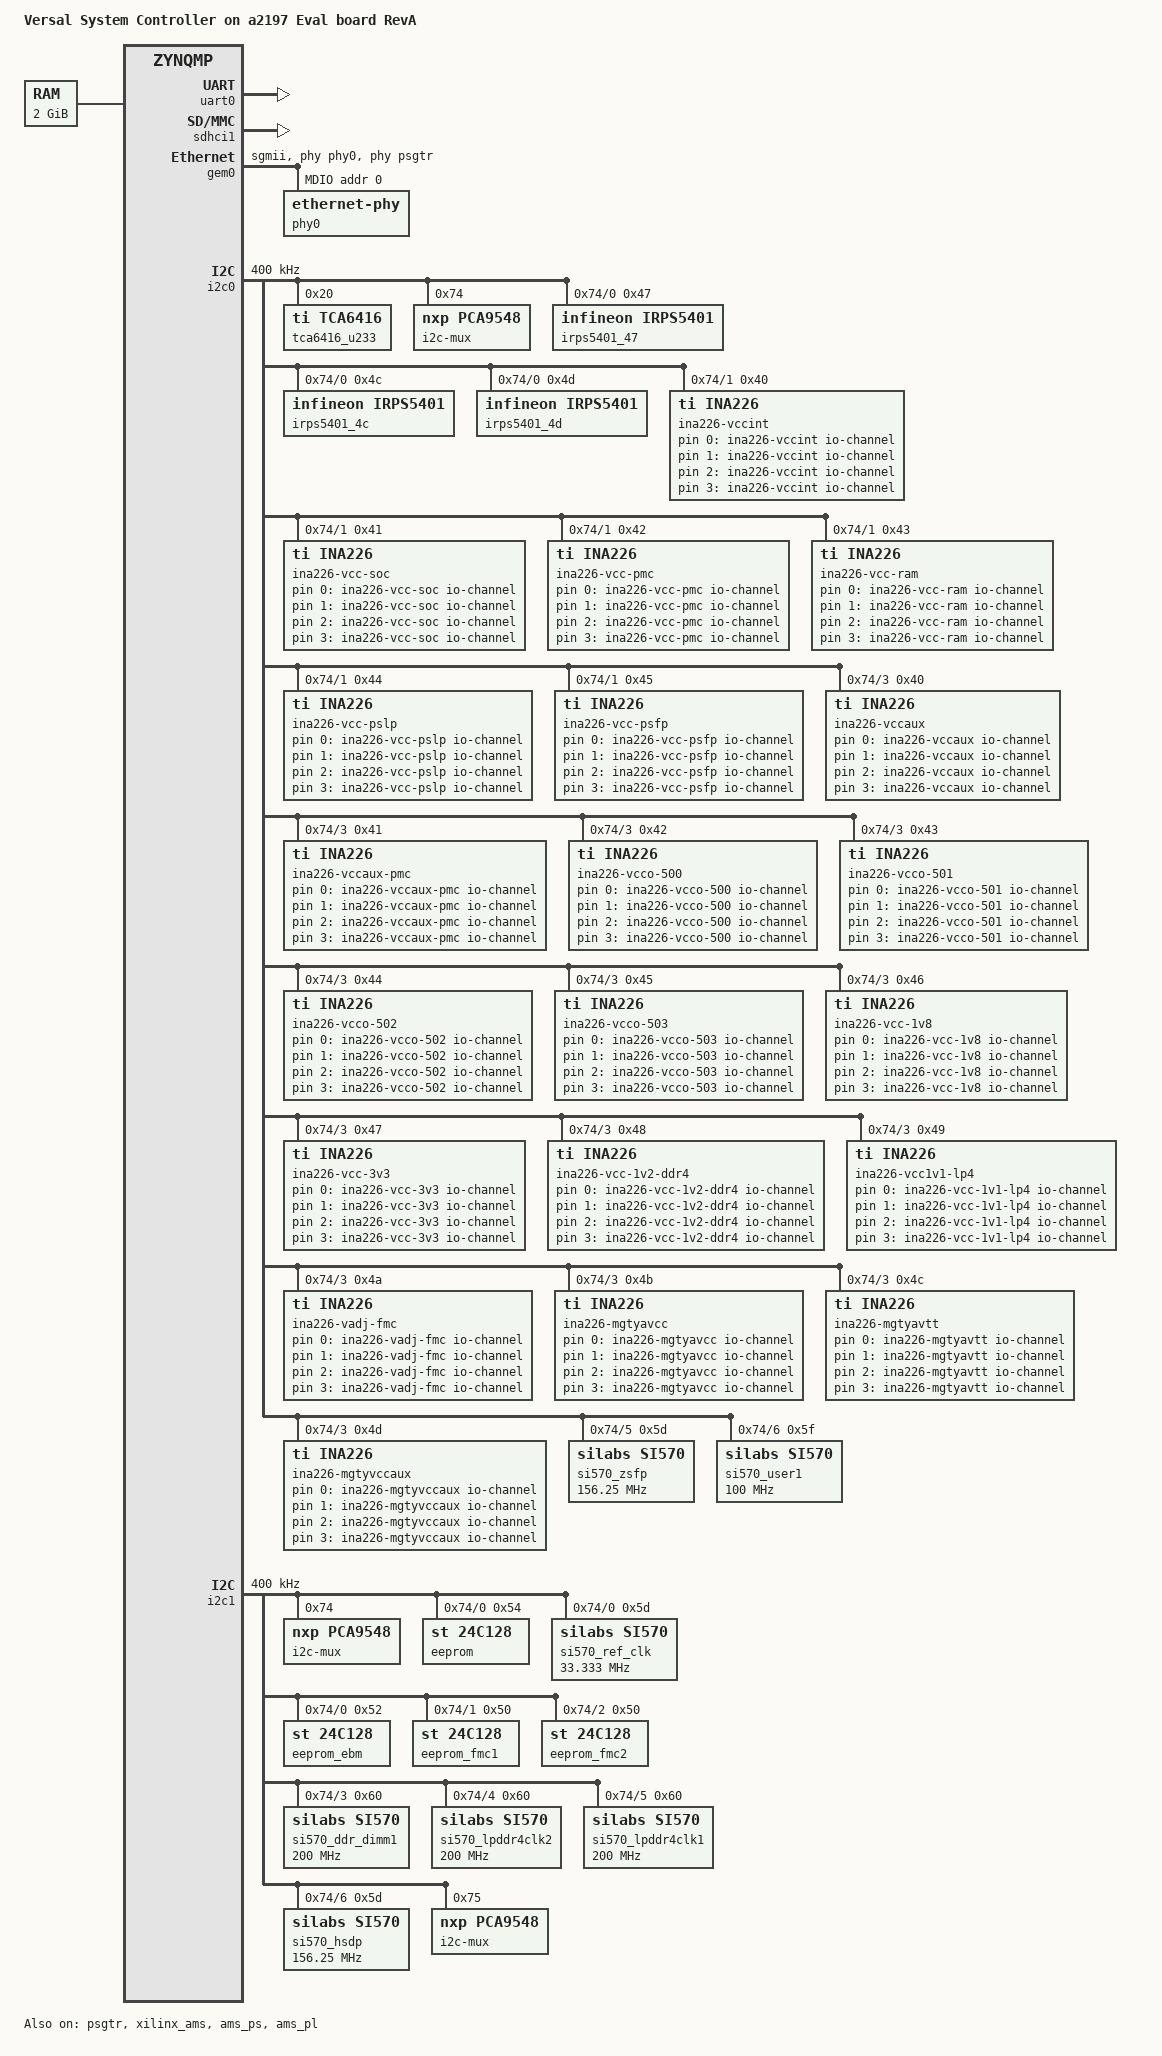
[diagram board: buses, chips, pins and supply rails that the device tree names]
// SPDX-License-Identifier: GPL-2.0
/*
 * dts file for Xilinx Versal a2197 RevA System Controller
 *
 * (C) Copyright 2019 - 2022, Xilinx, Inc.
 * (C) Copyright 2022 - 2023, Advanced Micro Devices, Inc.
 *
 * Michal Simek <michal.simek@amd.com>
 */
/dts-v1/;

#include "zynqmp.dtsi"
#include "zynqmp-clk-ccf.dtsi"
#include <dt-bindings/gpio/gpio.h>
#include <dt-bindings/phy/phy.h>

/ {
	model = "Versal System Controller on a2197 Eval board RevA"; /* VCK190/VMK180 */
	compatible = "xlnx,zynqmp-e-a2197-00-revA", "xlnx,zynqmp-a2197-revA",
		     "xlnx,zynqmp-a2197", "xlnx,zynqmp";

	aliases {
		ethernet0 = &gem0;
		i2c0 = &i2c0;
		i2c1 = &i2c1;
		mmc0 = &sdhci1;
		nvmem0 = &eeprom;
		nvmem1 = &eeprom_ebm;
		nvmem2 = &eeprom_fmc1;
		nvmem3 = &eeprom_fmc2;
		rtc0 = &rtc;
		serial0 = &uart0;
		serial1 = &dcc;
	};

	chosen {
		bootargs = "earlycon";
		stdout-path = "serial0:115200n8";
	};

	memory@0 {
		device_type = "memory";
		reg = <0x0 0x0 0x0 0x80000000>;
	};

	si5332_1: si5332-1 { /* u142 - GEM0 */
		compatible = "fixed-clock";
		#clock-cells = <0>;
		clock-frequency = <125000000>;
	};

	ina226-vccint {
		compatible = "iio-hwmon";
		io-channels = <&vccint 0>, <&vccint 1>, <&vccint 2>, <&vccint 3>;
	};
	ina226-vcc-soc {
		compatible = "iio-hwmon";
		io-channels = <&vcc_soc 0>, <&vcc_soc 1>, <&vcc_soc 2>, <&vcc_soc 3>;
	};
	ina226-vcc-pmc {
		compatible = "iio-hwmon";
		io-channels = <&vcc_pmc 0>, <&vcc_pmc 1>, <&vcc_pmc 2>, <&vcc_pmc 3>;
	};
	ina226-vcc-ram {
		compatible = "iio-hwmon";
		io-channels = <&vcc_ram 0>, <&vcc_ram 1>, <&vcc_ram 2>, <&vcc_ram 3>;
	};
	ina226-vcc-pslp {
		compatible = "iio-hwmon";
		io-channels = <&vcc_pslp 0>, <&vcc_pslp 1>, <&vcc_pslp 2>, <&vcc_pslp 3>;
	};
	ina226-vcc-psfp {
		compatible = "iio-hwmon";
		io-channels = <&vcc_psfp 0>, <&vcc_psfp 1>, <&vcc_psfp 2>, <&vcc_psfp 3>;
	};
	ina226-vccaux {
		compatible = "iio-hwmon";
		io-channels = <&vccaux 0>, <&vccaux 1>, <&vccaux 2>, <&vccaux 3>;
	};
	ina226-vccaux-pmc {
		compatible = "iio-hwmon";
		io-channels = <&vccaux_pmc 0>, <&vccaux_pmc 1>, <&vccaux_pmc 2>, <&vccaux_pmc 3>;
	};
	ina226-vcco-500 {
		compatible = "iio-hwmon";
		io-channels = <&vcco_500 0>, <&vcco_500 1>, <&vcco_500 2>, <&vcco_500 3>;
	};
	ina226-vcco-501 {
		compatible = "iio-hwmon";
		io-channels = <&vcco_501 0>, <&vcco_501 1>, <&vcco_501 2>, <&vcco_501 3>;
	};
	ina226-vcco-502 {
		compatible = "iio-hwmon";
		io-channels = <&vcco_502 0>, <&vcco_502 1>, <&vcco_502 2>, <&vcco_502 3>;
	};
	ina226-vcco-503 {
		compatible = "iio-hwmon";
		io-channels = <&vcco_503 0>, <&vcco_503 1>, <&vcco_503 2>, <&vcco_503 3>;
	};
	ina226-vcc-1v8 {
		compatible = "iio-hwmon";
		io-channels = <&vcc_1v8 0>, <&vcc_1v8 1>, <&vcc_1v8 2>, <&vcc_1v8 3>;
	};
	ina226-vcc-3v3 {
		compatible = "iio-hwmon";
		io-channels = <&vcc_3v3 0>, <&vcc_3v3 1>, <&vcc_3v3 2>, <&vcc_3v3 3>;
	};
	ina226-vcc-1v2-ddr4 {
		compatible = "iio-hwmon";
		io-channels = <&vcc_1v2_ddr4 0>, <&vcc_1v2_ddr4 1>, <&vcc_1v2_ddr4 2>, <&vcc_1v2_ddr4 3>;
	};
	ina226-vcc-1v1-lp4 {
		compatible = "iio-hwmon";
		io-channels = <&vcc1v1_lp4 0>, <&vcc1v1_lp4 1>, <&vcc1v1_lp4 2>, <&vcc1v1_lp4 3>;
	};
	ina226-vadj-fmc {
		compatible = "iio-hwmon";
		io-channels = <&vadj_fmc 0>, <&vadj_fmc 1>, <&vadj_fmc 2>, <&vadj_fmc 3>;
	};
	ina226-mgtyavcc {
		compatible = "iio-hwmon";
		io-channels = <&mgtyavcc 0>, <&mgtyavcc 1>, <&mgtyavcc 2>, <&mgtyavcc 3>;
	};
	ina226-mgtyavtt {
		compatible = "iio-hwmon";
		io-channels = <&mgtyavtt 0>, <&mgtyavtt 1>, <&mgtyavtt 2>, <&mgtyavtt 3>;
	};
	ina226-mgtyvccaux {
		compatible = "iio-hwmon";
		io-channels = <&mgtyvccaux 0>, <&mgtyvccaux 1>, <&mgtyvccaux 2>, <&mgtyvccaux 3>;
	};
};

&uart0 { /* uart0 MIO38-39 */
	status = "okay";
};

&sdhci1 { /* sd1 MIO45-51 cd in place */
	status = "okay";
	no-1-8-v;
	disable-wp;
	xlnx,mio-bank = <1>;
};

/* GEM SGMII */
&psgtr {
	status = "okay";
	/* gem0 */
	clocks = <&si5332_1>;
	clock-names = "ref0";
};

&gem0 {
	status = "okay";
	phys = <&psgtr 0 PHY_TYPE_SGMII 0 0>;
	phy-handle = <&phy0>;
	phy-mode = "sgmii";
	is-internal-pcspma;
	mdio: mdio {
		#address-cells = <1>;
		#size-cells = <0>;
		phy0: ethernet-phy@0 { /* u131 M88E1512 */
			reg = <0>;
		};
	};
};

&gpio {
	status = "okay";
	gpio-line-names = "", "", "", "", "", /* 0 - 4 */
		  "", "", "DC_SYS_CTRL0", "DC_SYS_CTRL1", "DC_SYS_CTRL2", /* 5 - 9 */
		  "DC_SYS_CTRL3", "ZU4_TRIGGER", "SYSCTLR_PB", "", "", /* 10 - 14 */
		  "", "", "", "", "", /* 15 - 19 */
		  "", "", "", "", "", /* 20 - 24 */
		  "", "", "", "", "", /* 25 - 29 */
		  "", "", "", "", "LP_I2C0_PMC_SCL", /* 30 - 34 */
		  "LP_I2C0_PMC_SDA", "LP_I2C1_SCL", "LP_I2C1_SDA", "UART0_RXD_IN", "UART0_TXD_OUT", /* 35 - 39 */
		  "", "", "ETH_RESET_B", "", "", /* 40 - 44 */
		  "SD1_CD_B", "SD1_DATA0", "SD1_DATA1", "SD1_DATA2", "SD1_DATA3", /* 45 - 49 */
		  "SD1_CMD", "SD1_CLK", "", "", "", /* 50 - 54 */
		  "", "", "", "", "", /* 55 - 59 */
		  "", "", "", "", "", /* 60 - 64 */
		  "", "", "", "", "", /* 65 - 69 */
		  "", "", "", "", "", /* 70 - 74 */
		  "", "ETH_MDC", "ETH_MDIO", /* 75 - 77, MIO end and EMIO start */
		  "SYSCTLR_VERSAL_MODE0", "SYSCTLR_VERSAL_MODE1", /* 78 - 79 */
		  "SYSCTLR_VERSAL_MODE2", "SYSCTLR_VERSAL_MODE3", "SYSCTLR_POR_B_LS", "DC_PRSNT", "", /* 80 - 84 */
		  "SYSCTLR_JTAG_S0", "SYSCTLR_JTAG_S1", "SYSCTLR_IIC_MUX0_RESET_B", "SYSCTLR_IIC_MUX1_RESET_B", "", /* 85 - 89 */
		  "SYSCTLR_GPIO0", "SYSCTLR_GPIO1", "SYSCTLR_GPIO2", "SYSCTLR_GPIO3", "SYSCTLR_GPIO4", /* 90 - 94 */
		  "SYSCTLR_GPIO5", "", "", "", "", /* 95 - 99 */
		  "", "", "", "", "", /* 100 - 104 */
		  "", "", "", "", "", /* 105 - 109 */
		  "", "", "", "", "", /* 110 - 114 */
		  "", "", "", "", "", /* 115 - 119 */
		  "", "", "", "", "", /* 120 - 124 */
		  "", "", "", "", "", /* 125 - 129 */
		  "PMBUS1_INA226_ALERT", "PMBUS2_INA226_ALERT", "", "", "", /* 130 - 134 */
		  "", "", "", "", "", /* 135 - 139 */
		  "PMBUS_ALERT", "", "SYSCTLR_ETH_RESET_B", "SYSCTLR_VCC0V85_TG", "MAX6643_OT_B", /* 140 - 144 */
		  "MAX6643_FANFINAL_B", "MAX6643_FULLSPD", "", "", "", /* 145 - 149 */
		  "", "", "", "", "", /* 150 - 154 */
		  "", "", "", "", "", /* 155 - 159 */
		  "", "", "", "", "", /* 160 - 164 */
		  "", "", "", "", "", /* 165 - 169 */
		  "", "", "", ""; /* 170 - 173 */
};

&i2c0 { /* MIO 34-35 - can't stay here */
	status = "okay";
	clock-frequency = <400000>;

	tca6416_u233: gpio@20 { /* u233 */
		compatible = "ti,tca6416";
		reg = <0x20>;
		gpio-controller; /* interrupt not connected */
		#gpio-cells = <2>;
		gpio-line-names = "MAX6643_OT_B", "MAX6643_FANFAIL_B", "", "", /* 0 - 3 */
				"PMBUS2_INA226_ALERT", "", "", "MAX6643_FULLSPD", /* 4 - 7 */
				"FMCP1_FMC_PRSNT_M2C_B", "FMCP2_FMC_PRSNT_M2C_B", "FMCP1_FMCP_PRSNT_M2C_B", "FMCP2_FMCP_PRSNT_M2C_B", /* 10 - 13 */
				"VCCINT_VRHOT_B", "8A34001_EXP_RST_B", "PMBUS_ALERT", "PMBUS1_INA226_ALERT"; /* 14 - 17 */
	};

	i2c-mux@74 { /* u33 */
		compatible = "nxp,pca9548";
		#address-cells = <1>;
		#size-cells = <0>;
		reg = <0x74>;
		/* reset-gpios = <&gpio SYSCTLR_IIC_MUX0_RESET_B GPIO_ACTIVE_HIGH>; */
		i2c@0 { /* PMBUS */
			#address-cells = <1>;
			#size-cells = <0>;
			reg = <0>;
			/* u152 IR35215 0x16/0x46 vcc_soc */
			/* u179 ir38164 0x19/0x49 vcco_500 */
			/* u181 ir38164 0x1a/0x4a vcco_501 */
			/* u183 ir38164 0x1b/0x4b vcco_502 */
			/* u185 ir38164 0x1e/0x4e vadj_fmc */
			/* u187 ir38164 0x1F/0x4f mgtyavcc */
			/* u189 ir38164 0x20/0x50 mgtyavtt */
			/* u194 ir38164 0x13/0x43 vdd1_1v8_lp4 */
			/* u195 ir38164 0x14/0x44 vdd2_1v8_lp4 */

			irps5401_47: irps5401@47 { /* IRPS5401 - u160 */
				compatible = "infineon,irps5401";
				reg = <0x47>; /* pmbus / i2c 0x17 */
			};
			irps5401_4c: irps5401@4c { /* IRPS5401 - u167 */
				compatible = "infineon,irps5401";
				reg = <0x4c>; /* pmbus / i2c 0x1c */
			};
			irps5401_4d: irps5401@4d { /* IRPS5401 - u175 */
				compatible = "infineon,irps5401";
				reg = <0x4d>; /* pmbus / i2c 0x1d */
			};
		};
		i2c@1 { /* PMBUS1_INA226 */
			#address-cells = <1>;
			#size-cells = <0>;
			reg = <1>;
			/* FIXME check alerts coming to SC */
			vccint: ina226@40 { /* u65 */
				compatible = "ti,ina226";
				#io-channel-cells = <1>;
				label = "ina226-vccint";
				reg = <0x40>;
				shunt-resistor = <500>; /* R440 */
				/* 0.80V @ 32A 1 of 6 Phases*/
			};
			vcc_soc: ina226@41 { /* u161 */
				compatible = "ti,ina226";
				#io-channel-cells = <1>;
				label = "ina226-vcc-soc";
				reg = <0x41>;
				shunt-resistor = <500>; /* R1702 */
				/* 0.80V @ 18A */
			};
			vcc_pmc: ina226@42 { /* u163 */
				compatible = "ti,ina226";
				#io-channel-cells = <1>;
				label = "ina226-vcc-pmc";
				reg = <0x42>;
				shunt-resistor = <5000>; /* R1214 */
				/* 0.78V @ 500mA */
			};
			vcc_ram: ina226@43 { /* u162 */
				compatible = "ti,ina226";
				#io-channel-cells = <1>;
				label = "ina226-vcc-ram";
				reg = <0x43>;
				shunt-resistor = <5000>; /* r1221 */
				/* 0.78V @ 4A */
			};
			vcc_pslp: ina226@44 { /* u165 */
				compatible = "ti,ina226";
				#io-channel-cells = <1>;
				label = "ina226-vcc-pslp";
				reg = <0x44>;
				shunt-resistor = <5000>; /* R1216 */
				/* 0.78V @ 1A */
			};
			vcc_psfp: ina226@45 { /* u164 */
				compatible = "ti,ina226";
				#io-channel-cells = <1>;
				label = "ina226-vcc-psfp";
				reg = <0x45>;
				shunt-resistor = <5000>; /* R1219 */
				/* 0.78V @ 2A */
			};
		};
		i2c@2 { /* PCIE_CLK */
			#address-cells = <1>;
			#size-cells = <0>;
			reg = <2>;
			/* u39 8T49N240 */
		};
		i2c@3 { /* PMBUS2_INA226 */
			#address-cells = <1>;
			#size-cells = <0>;
			reg = <3>;
			/* FIXME check alerts coming to SC */
			vccaux: ina226@40 { /* u166 */
				compatible = "ti,ina226";
				#io-channel-cells = <1>;
				label = "ina226-vccaux";
				reg = <0x40>;
				shunt-resistor = <5000>; /* R382 */
				/* 1.5V @ 3A */
			};
			vccaux_pmc: ina226@41 { /* u168 */
				compatible = "ti,ina226";
				#io-channel-cells = <1>;
				label = "ina226-vccaux-pmc";
				reg = <0x41>;
				shunt-resistor = <5000>; /* R1246 */
				/* 1.5V @ 500mA */
			};
			vcco_500: ina226@42 { /* u178 */
				compatible = "ti,ina226";
				#io-channel-cells = <1>;
				label = "ina226-vcco-500";
				reg = <0x42>;
				shunt-resistor = <2000>; /* R1300 */
				/* 3.3V @ 5A */
			};
			vcco_501: ina226@43 { /* u180 */
				compatible = "ti,ina226";
				#io-channel-cells = <1>;
				label = "ina226-vcco-501";
				reg = <0x43>;
				shunt-resistor = <2000>; /* R1313 */
				/* 3.3V @ 5A */
			};
			vcco_502: ina226@44 { /* u182 */
				compatible = "ti,ina226";
				#io-channel-cells = <1>;
				label = "ina226-vcco-502";
				reg = <0x44>;
				shunt-resistor = <2000>; /* R1330 */
				/* 3.3V @ 5A */
			};
			vcco_503: ina226@45 { /* u172 */
				compatible = "ti,ina226";
				#io-channel-cells = <1>;
				label = "ina226-vcco-503";
				reg = <0x45>;
				shunt-resistor = <5000>; /* R1229 */
				/* 1.8V @ 2A */
			};
			vcc_1v8: ina226@46 { /* u173 */
				compatible = "ti,ina226";
				#io-channel-cells = <1>;
				label = "ina226-vcc-1v8";
				reg = <0x46>;
				shunt-resistor = <5000>; /* R400 */
				/* 1.8V @ 6A */
			};
			vcc_3v3: ina226@47 { /* u174 */
				compatible = "ti,ina226";
				#io-channel-cells = <1>;
				label = "ina226-vcc-3v3";
				reg = <0x47>;
				shunt-resistor = <5000>; /* R1232 */
				/* 3.3V @ 500mA */
			};
			vcc_1v2_ddr4: ina226@48 { /* u176 */
				compatible = "ti,ina226";
				#io-channel-cells = <1>;
				label = "ina226-vcc-1v2-ddr4";
				reg = <0x48>;
				shunt-resistor = <5000>; /* R1275 */
				/* 1.2V @ 4A */
			};
			vcc1v1_lp4: ina226@49 { /* u177 */
				compatible = "ti,ina226";
				#io-channel-cells = <1>;
				label = "ina226-vcc1v1-lp4";
				reg = <0x49>;
				shunt-resistor = <5000>; /* R1286 */
				/* 1.1V @ 4A */
			};
			vadj_fmc: ina226@4a { /* u184 */
				compatible = "ti,ina226";
				#io-channel-cells = <1>;
				label = "ina226-vadj-fmc";
				reg = <0x4a>;
				shunt-resistor = <2000>; /* R1350 */
				/* 1.5V @ 10A */
			};
			mgtyavcc: ina226@4b { /* u186 */
				compatible = "ti,ina226";
				#io-channel-cells = <1>;
				label = "ina226-mgtyavcc";
				reg = <0x4b>;
				shunt-resistor = <2000>; /* R1367 */
				/* 0.88V @ 6A */
			};
			mgtyavtt: ina226@4c { /* u188 */
				compatible = "ti,ina226";
				#io-channel-cells = <1>;
				label = "ina226-mgtyavtt";
				reg = <0x4c>;
				shunt-resistor = <2000>; /* R1384 */
				/* 1.2V @ 10A */
			};
			mgtyvccaux: ina226@4d { /* u234 */
				compatible = "ti,ina226";
				#io-channel-cells = <1>;
				label = "ina226-mgtyvccaux";
				reg = <0x4d>;
				shunt-resistor = <5000>; /* r1679 */
				/* 1.5V @ 500mA */
			};
		};
		i2c@4 { /* LP_I2C_SM */
			#address-cells = <1>;
			#size-cells = <0>;
			reg = <4>;
			/* FIXME wires ready but chip is missing */
		};
		i2c@5 { /* zSFP_SI570 */
			#address-cells = <1>;
			#size-cells = <0>;
			reg = <5>;
			si570_zsfp: clock-generator@5d { /* u192 */
				#clock-cells = <0>;
				compatible = "silabs,si570";
				reg = <0x5d>;
				temperature-stability = <50>;
				factory-fout = <156250000>;
				clock-frequency = <156250000>;
				clock-output-names = "si570_zsfp_clk";
				silabs,skip-recall;
			};
		};
		i2c@6 { /* USER_SI570_1 */
			#address-cells = <1>;
			#size-cells = <0>;
			reg = <6>;
			si570_user1: clock-generator@5f { /* u205 */
				#clock-cells = <0>;
				compatible = "silabs,si570";
				reg = <0x5f>;
				temperature-stability = <50>;
				factory-fout = <100000000>;
				clock-frequency = <100000000>;
				clock-output-names = "si570_user1";
				silabs,skip-recall;
			};

		};
		i2c@7 { /* USER_SI570_2 */
			#address-cells = <1>;
			#size-cells = <0>;
			reg = <7>;
			/* FIXME wires ready but chip is missing */
		};
	};
};

&i2c1 { /* i2c1 MIO 36-37 */
	status = "okay";
	clock-frequency = <400000>;

	i2c-mux@74 { /* u35 */
		compatible = "nxp,pca9548";
		#address-cells = <1>;
		#size-cells = <0>;
		reg = <0x74>;
		i2c-mux-idle-disconnect;
		/* reset-gpios = <&gpio SYSCTLR_IIC_MUX1_RESET_B GPIO_ACTIVE_HIGH>; */
		dc_i2c: i2c@0 { /* DC_I2C */
			#address-cells = <1>;
			#size-cells = <0>;
			reg = <0>;
			/* Use for storing information about SC board */
			eeprom: eeprom@54 { /* u34 - m24128 16kB */
				compatible = "st,24c128", "atmel,24c128";
				reg = <0x54>; /* 0x5c too */
			};
			si570_ref_clk: clock-generator@5d { /* u32 */
				#clock-cells = <0>;
				compatible = "silabs,si570";
				reg = <0x5d>;
				temperature-stability = <50>;
				factory-fout = <33333333>;
				clock-frequency = <33333333>;
				clock-output-names = "ref_clk";
				silabs,skip-recall;
			};
			/* and connector J212D */
			eeprom_ebm: eeprom@52 { /* x-ebm module */
				compatible = "st,24c128", "atmel,24c128";
				reg = <0x52>;
			};
		};
		fmc1: i2c@1 { /* FMCP1_IIC */
			#address-cells = <1>;
			#size-cells = <0>;
			reg = <1>;
			/* FIXME connection to Samtec J51C */
			/* expected eeprom 0x50 FMC cards */
			eeprom_fmc1: eeprom@50 {
				compatible = "st,24c128", "atmel,24c128";
				reg = <0x50>;
			};
		};
		fmc2: i2c@2 { /* FMCP2_IIC */
			#address-cells = <1>;
			#size-cells = <0>;
			reg = <2>;
			/* FIXME connection to Samtec J53C */
			/* expected eeprom 0x50 FMC cards */
			eeprom_fmc2: eeprom@50 {
				compatible = "st,24c128", "atmel,24c128";
				reg = <0x50>;
			};
		};
		i2c@3 { /* DDR4_DIMM1 */
			#address-cells = <1>;
			#size-cells = <0>;
			reg = <3>;
			si570_ddr_dimm1: clock-generator@60 { /* u2 */
				#clock-cells = <0>;
				compatible = "silabs,si570";
				reg = <0x60>;
				temperature-stability = <50>;
				factory-fout = <200000000>;
				clock-frequency = <200000000>;
				clock-output-names = "si570_ddrdimm1_clk";
				silabs,skip-recall;
			};
		};
		i2c@4 { /* LPDDR4_SI570_CLK2 */
			#address-cells = <1>;
			#size-cells = <0>;
			reg = <4>;
			si570_lpddr4clk2: clock-generator@60 { /* u3 */
				#clock-cells = <0>;
				compatible = "silabs,si570";
				reg = <0x60>;
				temperature-stability = <50>;
				factory-fout = <200000000>;
				clock-frequency = <200000000>;
				clock-output-names = "si570_lpddr4_clk2";
				silabs,skip-recall;
			};
		};
		i2c@5 { /* LPDDR4_SI570_CLK1 */
			#address-cells = <1>;
			#size-cells = <0>;
			reg = <5>;
			si570_lpddr4clk1: clock-generator@60 { /* u4 */
				#clock-cells = <0>;
				compatible = "silabs,si570";
				reg = <0x60>;
				temperature-stability = <50>;
				factory-fout = <200000000>;
				clock-frequency = <200000000>;
				clock-output-names = "si570_lpddr4_clk1";
				silabs,skip-recall;
			};
		};
		i2c@6 { /* HSDP_SI570 */
			#address-cells = <1>;
			#size-cells = <0>;
			reg = <6>;
			si570_hsdp: clock-generator@5d { /* u5 */
				#clock-cells = <0>;
				compatible = "silabs,si570";
				reg = <0x5d>;
				temperature-stability = <50>;
				factory-fout = <156250000>;
				clock-frequency = <156250000>;
				clock-output-names = "si570_hsdp_clk";
				silabs,skip-recall;
			};
		};
		i2c@7 { /* 8A34001 - U219B and J310 connector */
			#address-cells = <1>;
			#size-cells = <0>;
			reg = <7>;
		};
	};
	i2c-mux@75 { /* u214 */
		compatible = "nxp,pca9548";
		#address-cells = <1>;
		#size-cells = <0>;
		reg = <0x75>;
		i2c-mux-idle-disconnect;
		i2c@0 { /* SFP0_IIC */
			#address-cells = <1>;
			#size-cells = <0>;
			reg = <0>;
			/* SFP0 */
		};
		i2c@1 { /* SFP1_IIC */
			#address-cells = <1>;
			#size-cells = <0>;
			reg = <1>;
			/* SFP1 */
		};
		i2c@2 { /* QSFP1_I2C */
			#address-cells = <1>;
			#size-cells = <0>;
			reg = <2>;
			/* QSFP1 */
		};
		/* 3 - 7 unused */
	};
};

&xilinx_ams {
	status = "okay";
};

&ams_ps {
	status = "okay";
};

&ams_pl {
	status = "okay";
};
